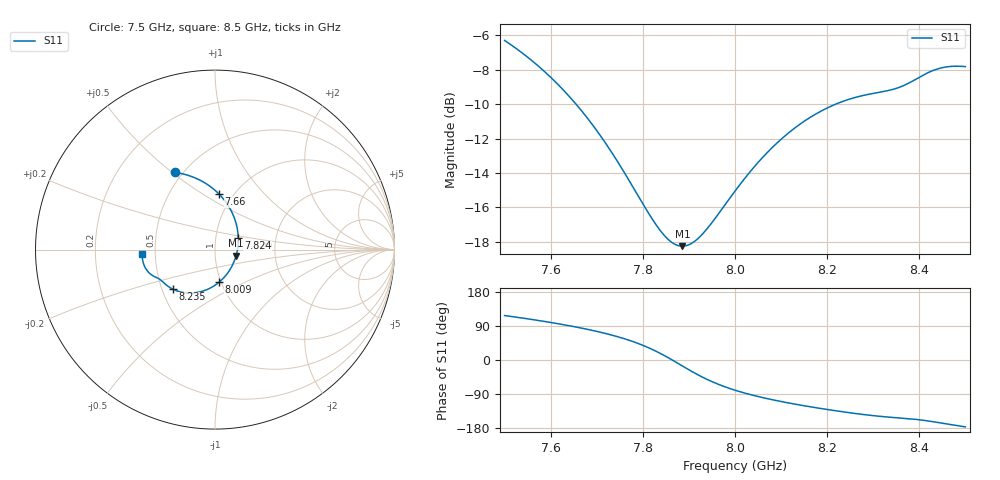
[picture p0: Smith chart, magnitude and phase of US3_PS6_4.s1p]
! Touchstone file exported from HFSS 2025.1.0
!  File:  C:/Users/user/Documents/Ansoft/TFG_UWB-MIMO-Array.aedt
!  Generated:  02:12:28 PM Nov 20, 2026
!  Design:  US3_PS6_4
!  Project:  TFG_UWB-MIMO-Array
!  Setup:  Setup_ch9
!  Solution:  Sweep_7p5_8p5
! Variables:
!  board_x = 26mm
!  board_y = 26mm
!  cu_t = 0.035mm
!  line_w = 3.92mm
!  pad_xy = 22mm
!  pad_zn = 25mm
!  pad_zp = 33mm
!  par_L = 7.05mm
!  par_W = 13.58mm
!  par_yc = 0.615mm
!  par_z = 1.035mm
!  patch_L = 6.29mm
!  patch_W = 14mm
!  sub_h = 2.07mm
!  tr_l = 7.25mm
!  tr_w = 1mm
!  u_Lu = 2.65mm
!  u_Wu = 4.4mm
!  u_t = 0.8mm
!  u_y0 = -0.7mm
# GHz S MA R 50.000000
! Terminal data exported
! Port[1] = P1
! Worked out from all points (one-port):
!   1001 points, 7.5 GHz to 8.5 GHz, reference 50 ohm
!   lowest |S11| = -18.3 dB at 7.886 GHz (marker M1), VSWR 1.28, Z = 63.2 - j4.31 ohm
!   |S11| at or under -10 dB: 7.655 GHz to 8.219 GHz (563.9 MHz wide, 7.11 % of centre)
!   S11 on the Smith chart (normalised r, x): 7.5 GHz: 0.46, +0.51; 7.66 GHz: 0.86, +0.59; 7.824 GHz: 1.29, +0.17; 8.009 GHz: 0.98, -0.37; 8.235 GHz: 0.57, -0.28; 8.5 GHz: 0.42, -0.02
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7.5  0.4839 117.4
7.562  0.4199 106.4
7.625  0.3502 93.8
7.66  0.3104 85.9
7.706  0.2581 73.8
7.75  0.2102 59.8
7.787  0.1738 44.9
7.824  0.1442 25.8
7.851  0.1295 8.8
7.875  0.123 -8.0
7.886  0.1223 -15.9
7.905  0.1245 -29.4
7.927  0.1316 -43.8
7.951  0.1438 -57.6
8  0.1767 -79.7
8.009  0.1834 -83.0
8.067  0.2266 -101.1
8.125  0.2665 -115.3
8.178  0.2973 -126.4
8.235  0.3224 -136.9
8.25  0.3274 -139.4
8.29  0.3376 -145.5
8.341  0.3484 -151.5
8.375  0.3626 -154.7
8.401  0.379 -157.9
8.424  0.393 -161.7
8.462  0.406 -169.1
8.5  0.4062 -176.5
